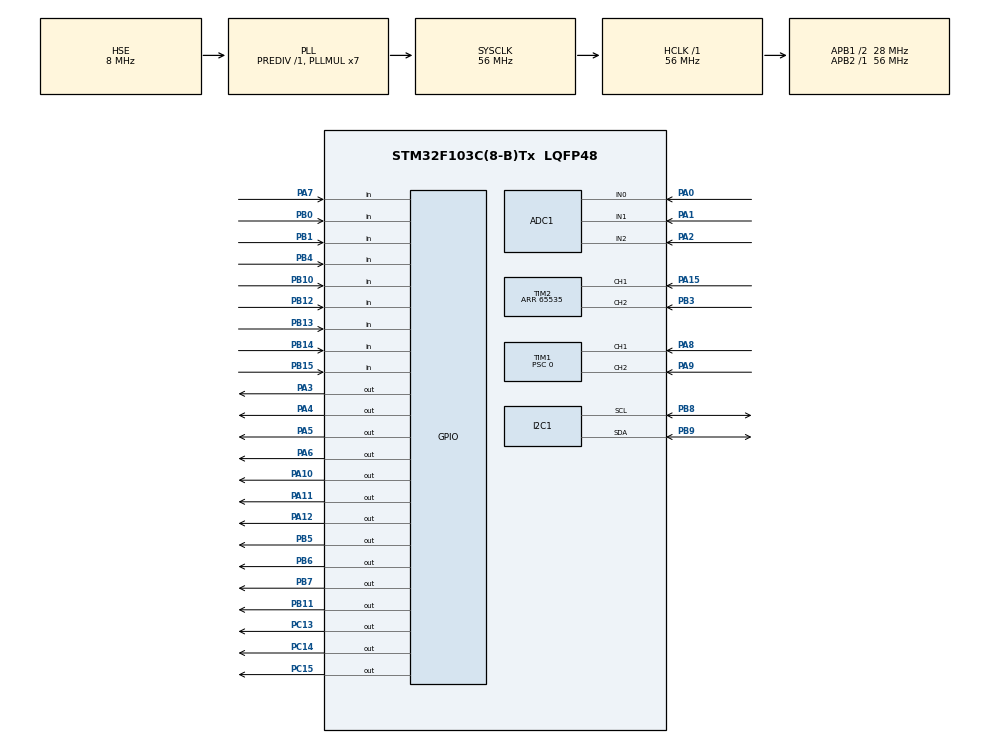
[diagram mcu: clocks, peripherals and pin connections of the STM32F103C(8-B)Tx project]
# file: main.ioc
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ADC1.Channel-0\#ChannelRegularConversion=ADC_CHANNEL_0
ADC1.ContinuousConvMode=ENABLE
ADC1.NbrOfConversion=1
ADC1.NbrOfConversionFlag=1
ADC1.Rank-0\#ChannelRegularConversion=1
ADC1.SamplingTime-0\#ChannelRegularConversion=ADC_SAMPLETIME_239CYCLES_5
ADC1.master=1
I2C1.I2C_Mode=I2C_Fast
Mcu.Family=STM32F1
Mcu.Name=STM32F103C(8-B)Tx
Mcu.Package=LQFP48
NVIC.PriorityGroup=NVIC_PRIORITYGROUP_4
PA0-WKUP.Signal=ADCx_IN0
PA1.Signal=ADCx_IN1
PA10.Signal=GPIO_Output
PA11.Signal=GPIO_Output
PA12.Signal=GPIO_Output
PA13.Mode=Serial_Wire
PA13.Signal=SYS_JTMS-SWDIO
PA14.Mode=Serial_Wire
PA14.Signal=SYS_JTCK-SWCLK
PA15.GPIO_PuPd=GPIO_PULLUP
PA15.Signal=S_TIM2_CH1_ETR
PA2.Signal=ADCx_IN2
PA3.Signal=GPIO_Output
PA4.Signal=GPIO_Output
PA5.Signal=GPIO_Output
PA6.Signal=GPIO_Output
PA7.GPIO_PuPd=GPIO_PULLUP
PA7.Signal=GPIO_Input
PA8.GPIO_Mode=GPIO_MODE_INPUT
PA8.GPIO_PuPd=GPIO_PULLUP
PA8.Signal=S_TIM1_CH1
PA9.GPIO_Mode=GPIO_MODE_INPUT
PA9.GPIO_PuPd=GPIO_PULLUP
PA9.Signal=S_TIM1_CH2
PB0.GPIO_PuPd=GPIO_PULLUP
PB0.Signal=GPIO_Input
PB1.GPIO_PuPd=GPIO_PULLUP
PB1.Signal=GPIO_Input
PB10.GPIO_PuPd=GPIO_PULLUP
PB10.Signal=GPIO_Input
PB11.Signal=GPIO_Output
PB12.GPIO_PuPd=GPIO_PULLUP
PB12.Signal=GPIO_Input
PB13.GPIO_PuPd=GPIO_PULLUP
PB13.Signal=GPIO_Input
PB14.GPIO_PuPd=GPIO_PULLUP
PB14.Signal=GPIO_Input
PB15.GPIO_PuPd=GPIO_PULLUP
PB15.Signal=GPIO_Input
PB3.GPIO_PuPd=GPIO_PULLUP
PB3.Signal=S_TIM2_CH2
PB4.GPIO_PuPd=GPIO_PULLUP
PB4.Signal=GPIO_Input
PB5.Signal=GPIO_Output
PB6.Signal=GPIO_Output
PB7.Signal=GPIO_Output
PB8.Mode=I2C
PB8.Signal=I2C1_SCL
PB9.Mode=I2C
PB9.Signal=I2C1_SDA
PC13-TAMPER-RTC.Signal=GPIO_Output
PC14-OSC32_IN.Signal=GPIO_Output
PC15-OSC32_OUT.Signal=GPIO_Output
PD0-OSC_IN.Mode=HSE-External-Oscillator
PD0-OSC_IN.Signal=RCC_OSC_IN
PD1-OSC_OUT.Mode=HSE-External-Oscillator
PD1-OSC_OUT.Signal=RCC_OSC_OUT
ProjectManager.HeapSize=0x200
ProjectManager.StackSize=0x400
ProjectManager.TargetToolchain=Makefile
RCC.ADCPresc=RCC_ADCPCLK2_DIV4
RCC.AHBFreq_Value=56000000
RCC.APB1CLKDivider=RCC_HCLK_DIV2
RCC.APB1Freq_Value=28000000
RCC.APB1TimFreq_Value=56000000
RCC.APB2Freq_Value=56000000
RCC.APB2TimFreq_Value=56000000
RCC.HCLKFreq_Value=56000000
RCC.PLLMUL=RCC_PLL_MUL7
RCC.PLLSourceVirtual=RCC_PLLSOURCE_HSE
RCC.SYSCLKFreq_VALUE=56000000
RCC.SYSCLKSource=RCC_SYSCLKSOURCE_PLLCLK
RCC.USBFreq_Value=56000000
SH.ADCx_IN0.0=ADC1_IN0,IN0
SH.ADCx_IN1.0=ADC1_IN1,IN1
SH.ADCx_IN2.0=ADC1_IN2,IN2
SH.S_TIM1_CH1.0=TIM1_CH1,Encoder_Interface
SH.S_TIM1_CH2.0=TIM1_CH2,Encoder_Interface
SH.S_TIM2_CH1_ETR.0=TIM2_CH1,Encoder_Interface
SH.S_TIM2_CH2.0=TIM2_CH2,Encoder_Interface
TIM1.ClockDivision=TIM_CLOCKDIVISION_DIV1
TIM1.CounterMode=TIM_COUNTERMODE_UP
TIM1.EncoderMode=TIM_ENCODERMODE_TI1
TIM1.IC1Filter=0
TIM1.IC2Filter=0
TIM1.Period=65535
TIM1.Prescaler=0
TIM2.Period=65535
board=stm32-si5351-vfo

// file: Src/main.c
/* USER CODE BEGIN Header */
/**
  ******************************************************************************
  * @file           : main.c
  * @brief          : Main program body
  ******************************************************************************
  ** This notice applies to any and all portions of this file
  * that are not between comment pairs USER CODE BEGIN and
  * USER CODE END. Other portions of this file, whether
  * inserted by the user or by software development tools
  * are owned by their respective copyright owners.
  *
  * COPYRIGHT(c) 2020 STMicroelectronics
  *
  * Redistribution and use in source and binary forms, with or without modification,
  * are permitted provided that the following conditions are met:
  *   1. Redistributions of source code must retain the above copyright notice,
  *      this list of conditions and the following disclaimer.
  *   2. Redistributions in binary form must reproduce the above copyright notice,
  *      this list of conditions and the following disclaimer in the documentation
  *      and/or other materials provided with the distribution.
  *   3. Neither the name of STMicroelectronics nor the names of its contributors
  *      may be used to endorse or promote products derived from this software
  *      without specific prior written permission.
  *
  * THIS SOFTWARE IS PROVIDED BY THE COPYRIGHT HOLDERS AND CONTRIBUTORS "AS IS"
  * AND ANY EXPRESS OR IMPLIED WARRANTIES, INCLUDING, BUT NOT LIMITED TO, THE
  * IMPLIED WARRANTIES OF MERCHANTABILITY AND FITNESS FOR A PARTICULAR PURPOSE ARE
  * DISCLAIMED. IN NO EVENT SHALL THE COPYRIGHT HOLDER OR CONTRIBUTORS BE LIABLE
  * FOR ANY DIRECT, INDIRECT, INCIDENTAL, SPECIAL, EXEMPLARY, OR CONSEQUENTIAL
  * DAMAGES (INCLUDING, BUT NOT LIMITED TO, PROCUREMENT OF SUBSTITUTE GOODS OR
  * SERVICES; LOSS OF USE, DATA, OR PROFITS; OR BUSINESS INTERRUPTION) HOWEVER
  * CAUSED AND ON ANY THEORY OF LIABILITY, WHETHER IN CONTRACT, STRICT LIABILITY,
  * OR TORT (INCLUDING NEGLIGENCE OR OTHERWISE) ARISING IN ANY WAY OUT OF THE USE
  * OF THIS SOFTWARE, EVEN IF ADVISED OF THE POSSIBILITY OF SUCH DAMAGE.
  *
  ******************************************************************************
  */
/* USER CODE END Header */

#include "main.h"

/* USER CODE BEGIN Includes */
#include <string.h>
#include <stdlib.h>
#include <stdbool.h>
#include <math.h>
#include "si5351.h"
#include "lcd.h"

/* USER CODE END Includes */

ADC_HandleTypeDef hadc1;

I2C_HandleTypeDef hi2c1;

TIM_HandleTypeDef htim1;
TIM_HandleTypeDef htim2;

/* USER CODE BEGIN PV */
/* Private variables ---------------------------------------------------------*/

/* USER CODE END PV */

void SystemClock_Config(void);
static void MX_GPIO_Init(void);
static void MX_TIM1_Init(void);
static void MX_I2C1_Init(void);
static void MX_TIM2_Init(void);
static void MX_ADC1_Init(void);
/* USER CODE BEGIN PFP */
/* Private function prototypes -----------------------------------------------*/

/* USER CODE END PFP */

/* USER CODE BEGIN 0 */

#define CH_CW   0
#define CH_CAL  1
#define CH_VFO  2

const int32_t XtalFilterCenterFrequency = 8998280;
const int32_t si5351_correction = 5760;

/* Adjust for used rotary encoders */
#define MAIN_DELTA_DIV 20
#define MAIN_DELTA_MULT 1
#define MULTI_DELTA_DIV 1
#define MULTI_DELTA_MULT -1

int32_t Fvfo = 1000000; // dummy value, will be changed below

const uint8_t eeprom_i2c_addr = (0x50 << 1);
#define EEPROM_PAGE_SIZE 32
#define KEYER_CONFIG_EEPROM_ADDR        0x0000
#define KEYER_MESSAGE_EEPROM_ADDR       0x0400

typedef enum {
    CLAR_MODE_DISABLED = 0,
    CLAR_MODE_RIT = 1,
    CLAR_MODE_XIT = 2,
} ClarMode_t;

bool lockMode = false;
bool fastMode = false;
ClarMode_t clarMode = CLAR_MODE_DISABLED;

int32_t clarOffset = 0;

typedef enum {
    CW_SEND_NONE = 0,
    CW_SEND_DIT = 1,
    CW_SEND_DAH = 2,
} CwSend_t;

CwSend_t lastSent = CW_SEND_NONE;
CwSend_t nextSend = CW_SEND_NONE;

typedef enum {
    KEYER_SETINGS_PAGE_SPEED = 0,
    KEYER_SETINGS_PAGE_XMIT = 1,
    KEYER_SETINGS_PAGE_SAVE = 2,
    KEYER_SETINGS_PAGE_PLAY = 3,
} KeyerSettingsPage_t;

typedef struct {
    uint16_t checksum;
    bool straightKey;
    int32_t speedWPM;
    int32_t ditTimeMs;
    KeyerSettingsPage_t settingsPage;
} KeyerConfig_t;

KeyerConfig_t keyerConfig = {
    .checksum = 0,
    .straightKey = false,
    .speedWPM = 19,

    // ditTimeMs = 60*1000/(50*WPM)
    // where 50 is the length in dits of "PARIS "
    // see https://morsecode.world/international/timing.html
    .ditTimeMs = 63,
    .settingsPage = KEYER_SETINGS_PAGE_SPEED,
};

#define MAX_KEYER_MESSAGE_LENGTH 500

typedef struct {
    uint16_t checksum;
    uint16_t length;
    char message[MAX_KEYER_MESSAGE_LENGTH];
} KeyerMessage_t;

KeyerMessage_t keyerMessage = {
    .checksum = 0,
    .length = 0,
};

bool inTransmitMode = false;

#define BUTTON_DEBOUNCE_TIME_MS 200
typedef enum {
    BUTTON_STATUS_PRESSED = 0,
    BUTTON_STATUS_RELEASED = 1,
    BUTTON_STATUS_DEBOUNCE = 2,
} ButtonStatus_t;

typedef enum {
    USE_LPF_80 = 0,
    USE_LPF_40_30 = 1,
    USE_LPF_20_17 = 2,
    USE_LPF_15_12_10 = 3,
} UseLPF_t;

typedef enum {
    USE_BPF_NONE = -1,
    USE_BPF_80 = 0,
    USE_BPF_40 = 1,
    USE_BPF_30 = 2,
    USE_BPF_20 = 3,
    USE_BPF_17 = 4,
    USE_BPF_15 = 5,
    USE_BPF_12 = 6,
    USE_BPF_10 = 7,
} UseBPF_t;

typedef struct {
    int32_t minFreq;
    int32_t maxFreq;
    int32_t lastFreq;
    UseLPF_t lpf;
    UseBPF_t bpf;
    /*
     * Compensate for losses in RG-174, frequency response of the given
     * PA depending on the used transistor, imperfections of the LPFs, etc.
     */
    si5351DriveStrength_t txDriveStrength;
} BandInfo_t;

int32_t currentBand = 3; // default: 20m

BandInfo_t bands[] = {
    {
        .minFreq  = 3500000,
        .maxFreq  = 3570000,
        .lastFreq = 3560000,
        .lpf = USE_LPF_80,
        .bpf = USE_BPF_80,
        .txDriveStrength = SI5351_DRIVE_STRENGTH_2MA,
    },
    {
        .minFreq  = 7000000,
        .maxFreq  = 7040000,
        .lastFreq = 7030000,
        .lpf = USE_LPF_40_30,
        .bpf = USE_BPF_40,
        .txDriveStrength = SI5351_DRIVE_STRENGTH_2MA,
    },
    {
        .minFreq  = 10100000,
        .maxFreq  = 10130000,
        .lastFreq = 10116000,
        .lpf = USE_LPF_40_30,
        .bpf = USE_BPF_30,
        .txDriveStrength = SI5351_DRIVE_STRENGTH_2MA,
    },
    {
        .minFreq  = 14000000,
        .maxFreq  = 14070000,
        .lastFreq = 14060000,
        .lpf = USE_LPF_20_17,
        .bpf = USE_BPF_20,
        .txDriveStrength = SI5351_DRIVE_STRENGTH_2MA,
    },
    {
        .minFreq  = 18068000,
        .maxFreq  = 18095000,
        .lastFreq = 18086000,
        .lpf = USE_LPF_20_17,
        .bpf = USE_BPF_17,
        .txDriveStrength = SI5351_DRIVE_STRENGTH_2MA,
    },
    {
        .minFreq  = 21000000,
        .maxFreq  = 21070000,
        .lastFreq = 21060000,
        .lpf = USE_LPF_15_12_10,
        .bpf = USE_BPF_15,
        .txDriveStrength = SI5351_DRIVE_STRENGTH_2MA,
    },
    {
        .minFreq  = 24890000,
        .maxFreq  = 24915000,
        .lastFreq = 24906000,
        .lpf = USE_LPF_15_12_10,
        .bpf = USE_BPF_12,
        .txDriveStrength = SI5351_DRIVE_STRENGTH_2MA,
    },
    {
        .minFreq  = 28000000,
        .maxFreq  = 28070000,
        .lastFreq = 28060000,
        .lpf = USE_LPF_15_12_10,
        .bpf = USE_BPF_10,
        .txDriveStrength = SI5351_DRIVE_STRENGTH_2MA,
    },
};

void ADC_Select_Channel(uint32_t ch) {
    ADC_ChannelConfTypeDef conf = {
        .Channel = ch,
        .Rank = 1,
        .SamplingTime = ADC_SAMPLETIME_28CYCLES_5,
    };
    if (HAL_ADC_ConfigChannel(&hadc1, &conf) != HAL_OK) {
        Error_Handler();
    }
}

double ADC_ReadVoltage(uint32_t ch) {
    ADC_Select_Channel(ch);
    HAL_ADC_PollForConversion(&hadc1, HAL_MAX_DELAY);
    return ((double)HAL_ADC_GetValue(&hadc1))*3.3/4096.0;
}

// http://en.wikipedia.org/wiki/Jenkins_hash_function
uint32_t jenkinsHash(const uint8_t *data, const size_t len) {
    uint32_t hash, i;
    for(hash = i = 0; i < len; ++i) {
        hash += data[i];
        hash += (hash << 10);
        hash ^= (hash >> 6);
    }
    hash += (hash << 3);
    hash ^= (hash >> 11);
    hash += (hash << 15);
    return hash;
}

void loadKeyerMessage() {
    HAL_StatusTypeDef status;
    uint16_t savedChecksum;
    KeyerMessage_t savedKeyerMessage;

    for(;;) {
        status = HAL_I2C_IsDeviceReady(&hi2c1, eeprom_i2c_addr, 3, HAL_MAX_DELAY);
        if(status == HAL_OK)
            break;
    }

    HAL_I2C_Mem_Read(&hi2c1, eeprom_i2c_addr, KEYER_MESSAGE_EEPROM_ADDR, I2C_MEMADD_SIZE_16BIT,
            (uint8_t*)&savedKeyerMessage, sizeof(savedKeyerMessage), HAL_MAX_DELAY);

    savedChecksum = savedKeyerMessage.checksum;
    savedKeyerMessage.checksum = 0;

    if((jenkinsHash((const uint8_t*)&savedKeyerMessage, sizeof(savedKeyerMessage)) & 0xFFFF) == savedChecksum) {
        keyerMessage = savedKeyerMessage;
    } else {
        LCD_Goto(0, 0);
        LCD_SendString("MSG HASH");
        LCD_Goto(1, 0);
        LCD_SendString(" ERROR! ");
        HAL_Delay(2000);
        LCD_Clear();
    }
}

void saveKeyerMessage() {
    HAL_StatusTypeDef status;
    uint16_t checksum;
    size_t bytes_to_write = sizeof(keyerMessage);
    uint8_t* struct_offset = (uint8_t*)&keyerMessage;
    uint16_t eeprom_addr = KEYER_MESSAGE_EEPROM_ADDR;

    keyerMessage.checksum = 0;
    checksum = (jenkinsHash((const uint8_t*)&keyerMessage, sizeof(keyerMessage)) & 0xFFFF);
    keyerMessage.checksum = checksum;

    // sizeof(keyerMessage) exceeds EEPROM_PAGE_SIZE
    // so we have to write it in batches
    while(bytes_to_write > 0) {
        size_t batch_size = bytes_to_write;
        if(batch_size > EEPROM_PAGE_SIZE) {
            batch_size = EEPROM_PAGE_SIZE;
        }

        for(;;) {
            status = HAL_I2C_IsDeviceReady(&hi2c1, eeprom_i2c_addr, 3, HAL_MAX_DELAY);
            if(status == HAL_OK)
                break;
        }

        HAL_I2C_Mem_Write(&hi2c1, eeprom_i2c_addr, eeprom_addr, I2C_MEMADD_SIZE_16BIT,
            struct_offset, batch_size, HAL_MAX_DELAY);

        bytes_to_write -= batch_size;
        struct_offset += batch_size;
        eeprom_addr += batch_size;
    }
}

void loadKeyerConfig() {
    HAL_StatusTypeDef status;
    uint16_t savedChecksum;
    KeyerConfig_t savedKeyerConfig;

    for(;;) {
        status = HAL_I2C_IsDeviceReady(&hi2c1, eeprom_i2c_addr, 3, HAL_MAX_DELAY);
        if(status == HAL_OK)
            break;
    }

    HAL_I2C_Mem_Read(&hi2c1, eeprom_i2c_addr, KEYER_CONFIG_EEPROM_ADDR, I2C_MEMADD_SIZE_16BIT,
        (uint8_t*)&savedKeyerConfig, sizeof(savedKeyerConfig), HAL_MAX_DELAY);

    savedChecksum = savedKeyerConfig.checksum;
    savedKeyerConfig.checksum = 0;

    if((jenkinsHash((const uint8_t*)&savedKeyerConfig, sizeof(savedKeyerConfig)) & 0xFFFF) == savedChecksum) {
        keyerConfig = savedKeyerConfig;
    } else {
        LCD_Goto(0, 0);
        LCD_SendString("CFG HASH");
        LCD_Goto(1, 0);
        LCD_SendString(" ERROR! ");
        HAL_Delay(2000);
        LCD_Clear();
    }
}

void saveKeyerConfig() {
    HAL_StatusTypeDef status;
    uint16_t checksum;
    keyerConfig.checksum = 0;

    checksum = (jenkinsHash((const uint8_t*)&keyerConfig, sizeof(keyerConfig)) & 0xFFFF);
    keyerConfig.checksum = checksum;

    for(;;) {
        status = HAL_I2C_IsDeviceReady(&hi2c1, eeprom_i2c_addr, 3, HAL_MAX_DELAY);
        if(status == HAL_OK)
            break;
    }

    HAL_I2C_Mem_Write(&hi2c1, eeprom_i2c_addr, KEYER_CONFIG_EEPROM_ADDR, I2C_MEMADD_SIZE_16BIT,
        (uint8_t*)&keyerConfig, sizeof(keyerConfig), HAL_MAX_DELAY);
}

void changeKeyerSpeed(int32_t delta) {
    keyerConfig.speedWPM += delta;
    if(keyerConfig.speedWPM < 10) {
        keyerConfig.speedWPM = 10;
        keyerConfig.straightKey = true;
        keyerConfig.ditTimeMs = 60*1000/(50*(10+1)); // as for 10 WPM
    } else {
        keyerConfig.straightKey = false;
        if(keyerConfig.speedWPM > 30) {
            keyerConfig.speedWPM = 30;
        }

        /* +1 compensates the signal rise/fall time */
        keyerConfig.ditTimeMs = 60*1000/(50*(keyerConfig.speedWPM + 1));
    }
}

void SetupCLK(uint8_t output, int32_t Fclk, si5351DriveStrength_t driveStrength) {
    static bool pllSetupDone = false;
    si5351PLLConfig_t pll_conf;
    si5351OutputConfig_t out_conf;

    si5351_Calc(Fclk, &pll_conf, &out_conf);
    if(!pllSetupDone) {
        si5351_SetupPLL(SI5351_PLL_A, &pll_conf);
        pllSetupDone = true;
    }
    si5351_SetupOutput(output, SI5351_PLL_A, driveStrength, &out_conf);
}

void enableTx(bool enable) {
    HAL_GPIO_WritePin(GPIOC, GPIO_PIN_14, enable ? GPIO_PIN_SET : GPIO_PIN_RESET);
}

void changeFrequency(int32_t delta, bool force) {
    static int32_t prevFvfo = 0;

    if((!force) && lockMode) {
        return;
    }

    if(fastMode) {
        delta *= 10;
    }
    bands[currentBand].lastFreq += 100*delta;
    if(fastMode && (delta != 0)) {
        bands[currentBand].lastFreq -= bands[currentBand].lastFreq % 1000;
    }

    if(bands[currentBand].lastFreq < bands[currentBand].minFreq) {
        bands[currentBand].lastFreq = bands[currentBand].minFreq;
    } else if(bands[currentBand].lastFreq > bands[currentBand].maxFreq) {
        bands[currentBand].lastFreq = bands[currentBand].maxFreq;
    }

    Fvfo = bands[currentBand].lastFreq + XtalFilterCenterFrequency;
    if(clarMode == CLAR_MODE_RIT) {
        Fvfo += clarOffset;
    }

    if(force || (Fvfo != prevFvfo)) {
        SetupCLK(CH_VFO, Fvfo, SI5351_DRIVE_STRENGTH_4MA);
    }

    prevFvfo = Fvfo;
}

void displayFrequency() {
    char buff[16];
    snprintf(buff, sizeof(buff), "%02ld.%03ld.%01ld",
        bands[currentBand].lastFreq / 1000000,
        (bands[currentBand].lastFreq % 1000000) / 1000,
        (bands[currentBand].lastFreq % 1000) / 100);

    LCD_Goto(0, 0);
    LCD_SendString(buff);
}

bool buttonDitPressed() {
    return (HAL_GPIO_ReadPin(GPIOB, GPIO_PIN_12) == GPIO_PIN_RESET);
}

bool buttonDahPressed() {
    return (HAL_GPIO_ReadPin(GPIOB, GPIO_PIN_13) == GPIO_PIN_RESET);
}

void displaySMeterOrMode(bool force) {
    static const char* prevSValue = NULL;
    static uint32_t lastSMeterUpdateTime = 0;
    // don't forget to add '-u _printf_float' to LDFLAGS
    char buff[16];

    if(force) {
        LCD_Goto(1, 0);
        if(fastMode) {
            LCD_SendString("= FAST =");
            return;
        } else if(lockMode) {
            LCD_SendString("= LOCK =");
            return;
        } else if(clarMode != CLAR_MODE_DISABLED) {
            snprintf(buff, sizeof(buff), "%s%s%04d",
                clarMode == CLAR_MODE_RIT ? "RIT" : "XIT",
                clarOffset < 0 ? "-" : "+",
                abs(clarOffset));
            LCD_SendString(buff);
            return;
        }
    }

    uint32_t tstamp = HAL_GetTick();
    if(force || (tstamp - lastSMeterUpdateTime > 500)) {
        const char* sValue = NULL;
        double voltage = ADC_ReadVoltage(ADC_CHANNEL_2);

        if(voltage <= 0.035) {
            sValue = "S0      ";
        } else if(voltage <= 0.04) {
            sValue = "S1      ";
        } else if(voltage <= 0.06) {
            sValue = "S2\x02     ";
        } else if(voltage <= 0.1) {
            sValue = "S3\x02     ";
        } else if(voltage <= 0.2) {
            sValue = "S4\x02\x03    ";
        } else if(voltage <= 0.5) {
            sValue = "S5\x02\x03    ";
        } else if(voltage <= 0.9) {
            sValue = "S6\x02\x03\x04   ";
        } else if(voltage <= 1.8) {
            sValue = "S7\x02\x03\x04\x05  ";
        } else if(voltage <= 2.2) {
            sValue = "S8\x02\x03\x04\x05\x06 ";
        } else if(voltage <= 2.65) {
            sValue = "S9\x02\x03\x04\x05\x06\x07";
        } else {
            sValue = "S+\x02\x03\x04\x05\x06\x07";
        }

        if(force || (prevSValue != sValue)) {
            // Don't re-render the S-meter if we are about to transmit
            if(!buttonDitPressed() && !buttonDahPressed()) {
                LCD_Goto(1, 0);
                LCD_SendString(sValue);
            }
        }

        prevSValue = sValue;
        lastSMeterUpdateTime = tstamp;
    }
}

void keyDown() {
    // CW tone ON
    HAL_GPIO_WritePin(GPIOB, GPIO_PIN_11, GPIO_PIN_SET);
}

void keyUp() {
    // CW tone OFF
    HAL_GPIO_WritePin(GPIOB, GPIO_PIN_11, GPIO_PIN_RESET);
}

void switchLPFs(UseLPF_t lpf) {
    HAL_GPIO_WritePin(GPIOA, GPIO_PIN_3, lpf == USE_LPF_15_12_10 ? GPIO_PIN_SET : GPIO_PIN_RESET);
    HAL_GPIO_WritePin(GPIOA, GPIO_PIN_4, lpf == USE_LPF_20_17 ? GPIO_PIN_SET : GPIO_PIN_RESET);
    HAL_GPIO_WritePin(GPIOA, GPIO_PIN_5, lpf == USE_LPF_40_30 ? GPIO_PIN_SET : GPIO_PIN_RESET);
    HAL_GPIO_WritePin(GPIOA, GPIO_PIN_6, lpf == USE_LPF_80 ? GPIO_PIN_SET : GPIO_PIN_RESET);
}

void switchBPFs(UseBPF_t bpf) {
    HAL_GPIO_WritePin(GPIOA, GPIO_PIN_10, bpf == USE_BPF_30 ? GPIO_PIN_SET : GPIO_PIN_RESET);
    HAL_GPIO_WritePin(GPIOA, GPIO_PIN_11, bpf == USE_BPF_17 ? GPIO_PIN_SET : GPIO_PIN_RESET);
    HAL_GPIO_WritePin(GPIOA, GPIO_PIN_12, bpf == USE_BPF_12 ? GPIO_PIN_SET : GPIO_PIN_RESET);

    HAL_GPIO_WritePin(GPIOB, GPIO_PIN_5, bpf == USE_BPF_10 ? GPIO_PIN_SET : GPIO_PIN_RESET);
    HAL_GPIO_WritePin(GPIOB, GPIO_PIN_6, bpf == USE_BPF_15 ? GPIO_PIN_SET : GPIO_PIN_RESET);
    HAL_GPIO_WritePin(GPIOB, GPIO_PIN_7, bpf == USE_BPF_20 ? GPIO_PIN_SET : GPIO_PIN_RESET);

    HAL_GPIO_WritePin(GPIOC, GPIO_PIN_13, bpf == USE_BPF_80 ? GPIO_PIN_SET : GPIO_PIN_RESET);
    HAL_GPIO_WritePin(GPIOC, GPIO_PIN_15, bpf == USE_BPF_40 ? GPIO_PIN_SET : GPIO_PIN_RESET);
}

void changeBand(int32_t delta) {
    currentBand += delta;
    while(currentBand < 0) {
        currentBand += sizeof(bands)/sizeof(bands[0]);
    }
    currentBand %= sizeof(bands)/sizeof(bands[0]);

    switchBPFs(bands[currentBand].bpf);
    switchLPFs(bands[currentBand].lpf);

    changeFrequency(0, false);
    si5351_EnableOutputs(1 << CH_VFO);
    displayFrequency();
}

void ensureTransmitMode() {
    if(inTransmitMode) {
        return;
    }

    int32_t targetFrequency = bands[currentBand].lastFreq;
    if(clarMode == CLAR_MODE_XIT) {
        targetFrequency += clarOffset;
    }

    SetupCLK(CH_CW, targetFrequency, bands[currentBand].txDriveStrength);
    si5351_EnableOutputs(1 << CH_CW);

    // Switch off the BPF. Otherwhise one can hear the signal being transmitted
    // despite the fact that VFO is disabled. The signal is very quiet but the
    // frequency is a bit off the built-in tone generator, so the tone sounds
    // a bit distorted.
    switchBPFs(USE_BPF_NONE);

    enableTx(true);

    LCD_Goto(1, 0);
    LCD_SendString("SWR  ---");

    inTransmitMode = true;
}

void ensureReceiveMode() {
    if(!inTransmitMode) {
        return;
    }
    enableTx(false);

    // Switch on the BPF
    switchBPFs(bands[currentBand].bpf);

    // Restore the original VFO
    changeFrequency(0, true);
    si5351_EnableOutputs(1 << CH_VFO);
    displaySMeterOrMode(true);
    inTransmitMode = false;
}

ButtonStatus_t buttonPressed(GPIO_TypeDef *GPIOx, uint16_t GPIO_Pin, uint32_t* lastPressed) {
    if(HAL_GPIO_ReadPin(GPIOx, GPIO_Pin) == GPIO_PIN_RESET) {
        uint32_t now = HAL_GetTick();
        if(now - *lastPressed > BUTTON_DEBOUNCE_TIME_MS) {
            *lastPressed = now;
            return BUTTON_STATUS_PRESSED;
        } else {
            return BUTTON_STATUS_DEBOUNCE;
        }
    }
    return BUTTON_STATUS_RELEASED;
}

bool switchRitMode() {
    return (HAL_GPIO_ReadPin(GPIOB, GPIO_PIN_4) == GPIO_PIN_RESET);
}

ButtonStatus_t buttonNextPressed() {
    static uint32_t lastPressed = 0;
    return buttonPressed(GPIOB, GPIO_PIN_14, &lastPressed);
}

ButtonStatus_t buttonPrevPressed() {
    static uint32_t lastPressed = 0;
    return buttonPressed(GPIOB, GPIO_PIN_1, &lastPressed);
}

ButtonStatus_t buttonFastPressed() {
    static uint32_t lastPressed = 0;
    return buttonPressed(GPIOB, GPIO_PIN_15, &lastPressed);
}

ButtonStatus_t buttonLockPressed() {
    static uint32_t lastPressed = 0;
    return buttonPressed(GPIOB, GPIO_PIN_10, &lastPressed);
}

ButtonStatus_t buttonClarPressed() {
    static uint32_t lastPressed = 0;
    return buttonPressed(GPIOB, GPIO_PIN_0, &lastPressed);
}

ButtonStatus_t buttonKeyerPressed() {
    static uint32_t lastPressed = 0;
    return buttonPressed(GPIOA, GPIO_PIN_7, &lastPressed);
}

// `straightKeyerKeyIsDown` is used to avoid calling keyUp()/keyDown() if we did it already.
// Calling HAL_GPIO_WritePin() too often generates a hearable noise.
bool straightKeyerKeyIsDown;

void initStraightKeyer() {
    straightKeyerKeyIsDown = false;
}

void processStraightKeyerLogic(bool pressed) {
    if(pressed) {
        if(!straightKeyerKeyIsDown) {
            keyDown();
            straightKeyerKeyIsDown = true;
        }
    } else if(straightKeyerKeyIsDown) {
        keyUp();
        straightKeyerKeyIsDown = false;
    }
}

void initIambicKeyer() {
    // iambic keyer has nothing to init
}

static size_t iambicKeyerLogOffset = 0;
static char iambicKeyerLog[MAX_KEYER_MESSAGE_LENGTH] = {0};

void iambicKeyerLogReset() {
    iambicKeyerLogOffset = 0;
}

size_t iambicKeyerLogSize() {
    return iambicKeyerLogOffset;
}

size_t iambicKeyerLogSpaceLeft() {
    return MAX_KEYER_MESSAGE_LENGTH - iambicKeyerLogOffset;
}

// Iambic keyer logs up to MAX_KEYER_MESSAGE_LENGTH symbols.
// '.' is a dit
// '-' is a dah
// ' ' is a pause between letters
// '/' is a pause between words
// Multiple pauses between letters are logged as one pause.
// Multiple pauses between words are also logged as one pause.
// Pauses in the beginning of the message are not logged.
void iambicKeyerLogEmit(char c) {
    if(iambicKeyerLogSpaceLeft() == 0) {
        // truncate the message if there is not space left in the buffer
        return;
    }

    if(((c == ' ') || (c == '/')) && (iambicKeyerLogOffset == 0)) {
        // don't log the pauses in the beginning of the message
        return;
    }

    if((c == ' ') && iambicKeyerLog[iambicKeyerLogOffset-1] == ' ') {
        // multiple pauses between letters are logged as one pause
        return;
    }

    if((c == '/') && iambicKeyerLog[iambicKeyerLogOffset-1] == '/') {
        // multiple pauses between words are logged as one pause.
        return;
    }

    if((c == '/') && iambicKeyerLog[iambicKeyerLogOffset-1] == ' ') {
        // previously logged pause between letters became a pause between words
        iambicKeyerLog[iambicKeyerLogOffset-1] = '/';
        return;
    }

    if((c == ' ') && iambicKeyerLog[iambicKeyerLogOffset-1] == '/') {
        // to my knowledge this should never happen...
        return;
    }

    // log the symbol
    iambicKeyerLog[iambicKeyerLogOffset] = c;
    iambicKeyerLogOffset++;
}

void processIambicKeyerLogic(bool ditPressed, bool dahPressed) {
    static int32_t sendFinish = 0;
    static int32_t keyReadTimeout = 0;
    static int32_t sendTimeout = 0;
    static bool isSending = false;

    int32_t now = HAL_GetTick();

    if(isSending && (now >= sendFinish)) {
        keyUp();
        isSending = false;
    } else if(!isSending && (now - sendFinish) > keyerConfig.ditTimeMs*5) {
        // multiple pauses between words will be logged as one pause
        // pauses in the beginning of the message will be ignored
        iambicKeyerLogEmit('/');
    } else if(!isSending && (now - sendFinish) > keyerConfig.ditTimeMs*2) {
        // multiple pauses between letters will be logged as one pause
        // pauses in the beginning of the message will be ignored
        iambicKeyerLogEmit(' ');
    }

    if(nextSend == CW_SEND_NONE) {
        if(ditPressed && (lastSent == CW_SEND_DAH)) {
            nextSend = CW_SEND_DIT;
        } else if(dahPressed && (lastSent == CW_SEND_DIT)) {
            nextSend = CW_SEND_DAH;
        } else if(now > keyReadTimeout) {
            if(ditPressed) {
                nextSend = CW_SEND_DIT;
            } else if (dahPressed) {
                nextSend = CW_SEND_DAH;
            }
        }
    }

    if((now > sendTimeout) && (nextSend != CW_SEND_NONE)) {
        if(nextSend == CW_SEND_DIT) {
            iambicKeyerLogEmit('.');
            sendFinish = now + keyerConfig.ditTimeMs;
            keyReadTimeout = now + keyerConfig.ditTimeMs*2;
        } else if(nextSend == CW_SEND_DAH) {
            iambicKeyerLogEmit('-');
            sendFinish = now + keyerConfig.ditTimeMs*3;
            keyReadTimeout = now + keyerConfig.ditTimeMs*3;
        }

        lastSent = nextSend;
        nextSend = CW_SEND_NONE;
        sendTimeout = sendFinish + keyerConfig.ditTimeMs;
        isSending = true;
        keyDown();
    }
}

int32_t getDelta(TIM_HandleTypeDef* htim, int32_t *prevCounter, int32_t mult, int32_t div) {
    int32_t currCounter = __HAL_TIM_GET_COUNTER(htim);
    currCounter = mult*(currCounter / div);
    currCounter = 32767 - ((currCounter-1) & 0xFFFF) / 2;
    if(currCounter > 32768/2) {
        // convert ... 32766, 32767, 0, 1, 2 ... into:
        //               ... -2, -1, 0, 1, 2 ...
        // this simplifies `delta` calculation
        currCounter = currCounter-32768;
    }

    if(currCounter != *prevCounter) {
        int32_t delta = *prevCounter-currCounter;
        *prevCounter = currCounter;

        // debounce or skip counter overflow
        if((delta > -10) && (delta < 10)) {
            return delta;
        }
    }

    return 0;
}

void displayKeyerSpeedSettings() {
    char buff[16];
    if(keyerConfig.straightKey) {
        LCD_Goto(0, 0);
        LCD_SendString("SPEED --");
        LCD_Goto(1, 0);
        LCD_SendString("STRAIGHT");
    } else {
        snprintf(buff, sizeof(buff), "SPEED %02ld", keyerConfig.speedWPM);
        LCD_Goto(0, 0);
        LCD_SendString(buff);
        LCD_Goto(1, 0);
        LCD_SendString("IAMBIC  ");
    }
}

void displayKeyerXmitSettings() {
    LCD_Goto(0, 0);
    LCD_SendString("XMIT MSG");
    LCD_Goto(1, 0);
    LCD_SendString("CFM=LOCK");
}

void displayKeyerSaveSettings() {
    LCD_Goto(0, 0);
    LCD_SendString("SAVE MSG");
    LCD_Goto(1, 0);
    LCD_SendString("CFM=LOCK");
}

void displayKeyerPlaySettings() {
    LCD_Goto(0, 0);
    LCD_SendString("PLAY MSG");
    LCD_Goto(1, 0);
    LCD_SendString("CFM=LOCK");
}

bool anyButtonPressed() {
    return (buttonNextPressed() == BUTTON_STATUS_PRESSED) ||
        (buttonFastPressed() == BUTTON_STATUS_PRESSED) ||
        (buttonLockPressed() == BUTTON_STATUS_PRESSED) ||
        (buttonPrevPressed() == BUTTON_STATUS_PRESSED) ||
        (buttonClarPressed() == BUTTON_STATUS_PRESSED) ||
        (buttonKeyerPressed() == BUTTON_STATUS_PRESSED) ||
        buttonDitPressed() || buttonDahPressed();
}

uint32_t lastSWRCheckTime = 0;
double lastSWRValue = 0.0;

void resetSWRMeter() {
    lastSWRCheckTime = 0;
    lastSWRValue = 0.0;
}

void updateSWRMeter() {
    double v_fwd, v_ref, ratio, swr;
    uint32_t tstamp = HAL_GetTick();
    if(tstamp - lastSWRCheckTime < 100) {
        return;
    }

    v_fwd = ADC_ReadVoltage(ADC_CHANNEL_0);
    if(v_fwd < 0.1) {
        /* not transmitting */
        return;
    }

    lastSWRCheckTime = tstamp;
    v_ref = ADC_ReadVoltage(ADC_CHANNEL_1);
    if(v_ref < 0.1) {
        v_ref = 0.0;
    }

    if(v_ref > v_fwd) {
        swr = 25.0;
    } else {
        ratio = v_ref / v_fwd;
        swr = (1+ratio)/(1-ratio);
    }

    if(fabs(lastSWRValue - swr) <= 0.2) {
        return;
    }

    LCD_Goto(1, 5);
    if(swr >= 10) {
        LCD_SendString("10+");
    } else {
        char buff[8];
        snprintf(buff, sizeof(buff), "%.1f", swr);
        LCD_SendString(buff);
    }

    lastSWRValue = swr;
}

void playbackSavedMessage(bool renderCounter, bool renderSWRMeter) {
    int32_t sendStart = 0;
    int32_t sendFinish = 0;
    bool isSending = false;
    int32_t now;
    size_t symbolsLeft = keyerMessage.length;
    size_t currentSymbolIdx = 0;
    char c;

    if(renderCounter) {
        char buff[16];
        snprintf(buff, sizeof(buff), "%03d", symbolsLeft);
        LCD_Goto(0, 5);
        LCD_SendString(buff);
    }

    while(symbolsLeft > 0) {
        now = HAL_GetTick();

        if((!isSending) && (now >= sendStart)) {
            // time to send the next symbol
            c = keyerMessage.message[currentSymbolIdx];
            isSending = true;

            if(c == '/') {
                // Pause between words.
                // We already waited for ditTimeMs, thus -1.
                // Act as if we are sending another symbol,
                // although keyDown() is not called.
                sendFinish = now + keyerConfig.ditTimeMs*(7-1);
            } else if(c == ' ') {
                // Pause between letters.
                // We already waited for ditTimeMs, thus -1.
                // Act as if we are sending another symbol,
                // although keyDown() is not called.
                sendFinish = now + keyerConfig.ditTimeMs*(3-1);
            } else if(c == '-') {
                keyDown();
                sendFinish = now + keyerConfig.ditTimeMs*3;
            } else { // c == '.'
                keyDown();
                sendFinish = now + keyerConfig.ditTimeMs;
            }
        }

        if(isSending && (now >= sendFinish)) {
            // another symbol was sent
            keyUp();
            symbolsLeft--;
            currentSymbolIdx++;
            isSending = false;

            // `ditTimeMs` is a pause between dits and dahs
            sendStart = now + keyerConfig.ditTimeMs;

            if(renderCounter) {
                char buff[16];
                snprintf(buff, sizeof(buff), "%03d", symbolsLeft);
                LCD_Goto(0, 5);
                LCD_SendString(buff);
            }
        }

        if(anyButtonPressed()) {
            break;
        }

        if(renderSWRMeter) {
            updateSWRMeter();
        }

        HAL_Delay(5);
    }

    keyUp();

    if(renderCounter) {
        LCD_Goto(0, 5);
        LCD_SendString("MSG");
    }
}

void enterKeyerSaveMode() {
    bool keyerInitDone = false;
    uint32_t keyerInitTime = 0;
    char buff[8];
    size_t spaceLeft, prevSpaceLeft;

    iambicKeyerLogReset();
    spaceLeft = iambicKeyerLogSpaceLeft();
    prevSpaceLeft = spaceLeft;

    snprintf(buff, sizeof(buff), "%03d", spaceLeft);
    LCD_Goto(0, 5);
    LCD_SendString(buff);

    for(;;) {
        bool ditPressed = buttonDitPressed();
        bool dahPressed = buttonDahPressed();

        if((ditPressed || dahPressed)) {
            keyerInitTime = HAL_GetTick();
            if(!keyerInitDone) {
                keyerInitDone = true;
                // use iambic keyer even in straight key mode
                initIambicKeyer();
            }
        } else {
            uint32_t tstamp = HAL_GetTick();
            if(tstamp - keyerInitTime > keyerConfig.ditTimeMs*8) {
                keyerInitDone = false;
            }
        }

        if(keyerInitDone) {
            processIambicKeyerLogic(ditPressed, dahPressed);
        }

        if(buttonLockPressed() == BUTTON_STATUS_PRESSED) {
            // SAVE confirmed
            keyerMessage.length = iambicKeyerLogSize();
            memcpy(keyerMessage.message, iambicKeyerLog, keyerMessage.length);

            // truncate the pauses in the end of the message
            while(keyerMessage.length > 0) {
                if(keyerMessage.message[keyerMessage.length-1] == ' ') {
                    keyerMessage.length--;
                    continue;
                }

                if(keyerMessage.message[keyerMessage.length-1] == '/') {
                    keyerMessage.length--;
                    continue;
                }

                break;
            }

            saveKeyerMessage();
            break;
        } else if(buttonKeyerPressed() == BUTTON_STATUS_PRESSED) {
            // SAVE aborted
            break;
        }

        spaceLeft = iambicKeyerLogSpaceLeft();
        if(spaceLeft != prevSpaceLeft) {
            // re-render
            snprintf(buff, sizeof(buff), "%03d", spaceLeft);
            LCD_Goto(0, 5);
            LCD_SendString(buff);
            prevSpaceLeft = spaceLeft;
        }

        HAL_Delay(5);
    }

    LCD_Goto(0, 5);
    LCD_SendString("MSG");
}

void loopKeyer(bool* startSendingSavedMessage) {
    bool keyerInitDone = false;
    uint32_t keyerInitTime = 0;
    int32_t prevCounter = 0;

    // init the last state
    if(keyerConfig.settingsPage == KEYER_SETINGS_PAGE_SPEED) {
        // reset the counter
        (void)getDelta(&htim2, &prevCounter, MULTI_DELTA_MULT, MULTI_DELTA_DIV);
        displayKeyerSpeedSettings();
    } else if(keyerConfig.settingsPage == KEYER_SETINGS_PAGE_XMIT) {
        displayKeyerXmitSettings();
    } else if(keyerConfig.settingsPage == KEYER_SETINGS_PAGE_SAVE) {
        displayKeyerSaveSettings();
    } else { // keyerConfig.settingsPage == KEYER_SETINGS_PAGE_PLAY
        displayKeyerPlaySettings();
    }

    for(;;) {
        if(keyerConfig.settingsPage == KEYER_SETINGS_PAGE_SPEED) {
            bool ditPressed = buttonDitPressed();
            bool dahPressed = buttonDahPressed();

            if((ditPressed || dahPressed)) {
                keyerInitTime = HAL_GetTick();
                if(!keyerInitDone) {
                    keyerInitDone = true;
                    if(keyerConfig.straightKey) {
                        initStraightKeyer();
                    } else {
                        initIambicKeyer();
                    }
                }
            } else {
                uint32_t tstamp = HAL_GetTick();
                if(tstamp - keyerInitTime > keyerConfig.ditTimeMs*8) {
                    keyerInitDone = false;
                }
            }

            if(keyerInitDone) {
                if(keyerConfig.straightKey) {
                    processStraightKeyerLogic(ditPressed);
                } else {
                    processIambicKeyerLogic(ditPressed, dahPressed);
                }
            }

            int32_t delta = getDelta(&htim2, &prevCounter, MULTI_DELTA_MULT, MULTI_DELTA_DIV);
            if(delta != 0) {
                // don't forget to re-init the keyer next time
                keyerInitDone = false;

                keyUp();
                changeKeyerSpeed(delta);

                // re-render
                displayKeyerSpeedSettings();
            }

            if(buttonNextPressed() == BUTTON_STATUS_PRESSED) {
                displayKeyerXmitSettings();
                keyerConfig.settingsPage = KEYER_SETINGS_PAGE_XMIT;
            } else if(buttonPrevPressed() == BUTTON_STATUS_PRESSED) {
                displayKeyerPlaySettings();
                keyerConfig.settingsPage = KEYER_SETINGS_PAGE_PLAY;
            } else if(buttonKeyerPressed() == BUTTON_STATUS_PRESSED) {
                break;
            }
        } else if(keyerConfig.settingsPage == KEYER_SETINGS_PAGE_XMIT) {
            if(buttonNextPressed() == BUTTON_STATUS_PRESSED) {
                displayKeyerSaveSettings();
                keyerConfig.settingsPage = KEYER_SETINGS_PAGE_SAVE;
            } else if(buttonPrevPressed() == BUTTON_STATUS_PRESSED) {
                // reset the counter
                (void)getDelta(&htim2, &prevCounter, MULTI_DELTA_MULT, MULTI_DELTA_DIV);
                displayKeyerSpeedSettings();
                keyerConfig.settingsPage = KEYER_SETINGS_PAGE_SPEED;
            } else if(buttonLockPressed() == BUTTON_STATUS_PRESSED) {
                *startSendingSavedMessage = true;
                break;
            } else if(buttonKeyerPressed() == BUTTON_STATUS_PRESSED) {
                break;
            }
        } else if(keyerConfig.settingsPage == KEYER_SETINGS_PAGE_SAVE) {
            if(buttonNextPressed() == BUTTON_STATUS_PRESSED) {
                displayKeyerPlaySettings();
                keyerConfig.settingsPage = KEYER_SETINGS_PAGE_PLAY;
            } else if(buttonPrevPressed() == BUTTON_STATUS_PRESSED) {
                displayKeyerXmitSettings();
                keyerConfig.settingsPage = KEYER_SETINGS_PAGE_XMIT;
            } else if(buttonLockPressed() == BUTTON_STATUS_PRESSED) {
                enterKeyerSaveMode();
            } else if(buttonKeyerPressed() == BUTTON_STATUS_PRESSED) {
                break;
            }
        } else { // keyerConfig.settingsPage == KEYER_SETINGS_PAGE_PLAY
            if(buttonNextPressed() == BUTTON_STATUS_PRESSED) {
                // reset the counter
                (void)getDelta(&htim2, &prevCounter, MULTI_DELTA_MULT, MULTI_DELTA_DIV);
                displayKeyerSpeedSettings();
                keyerConfig.settingsPage = KEYER_SETINGS_PAGE_SPEED;
            } else if(buttonPrevPressed() == BUTTON_STATUS_PRESSED) {
                displayKeyerSaveSettings();
                keyerConfig.settingsPage = KEYER_SETINGS_PAGE_SAVE;
            } else if(buttonLockPressed() == BUTTON_STATUS_PRESSED) {
                playbackSavedMessage(true, false);
            } else if(buttonKeyerPressed() == BUTTON_STATUS_PRESSED) {
                break;
            }
        }

        HAL_Delay(5);
    }

    saveKeyerConfig();
    displayFrequency();
    displaySMeterOrMode(true);
}

void loopMain() {
    static int32_t prevMainCounter = 0;
    static int32_t prevMultiCounter = 0;
    static uint32_t transmitModeEnterTime = 0;
    static bool prevClarModeRit = false;
    bool ditPressed = buttonDitPressed();
    bool dahPressed = buttonDahPressed();

    if(ditPressed || dahPressed) {
        transmitModeEnterTime = HAL_GetTick();
        if(!inTransmitMode) {
            ensureTransmitMode();
            resetSWRMeter();

            if(keyerConfig.straightKey) {
                initStraightKeyer();
            } else {
                initIambicKeyer();
            }
        }
    } else {
        /* exit TX mode due to inactivity? */
        uint32_t tstamp = HAL_GetTick();
        uint32_t delay = keyerConfig.straightKey ? 1000 : keyerConfig.ditTimeMs*15;

        if((tstamp - transmitModeEnterTime > delay) && (inTransmitMode)) {
            ensureReceiveMode();
            // discard any changes in counters
            (void)getDelta(&htim1, &prevMainCounter, MAIN_DELTA_MULT, MAIN_DELTA_DIV);
            (void)getDelta(&htim2, &prevMultiCounter, MULTI_DELTA_MULT, MULTI_DELTA_DIV);
        }
    }

    if(inTransmitMode) {
        if(keyerConfig.straightKey) {
            processStraightKeyerLogic(ditPressed);
        } else {
            processIambicKeyerLogic(ditPressed, dahPressed);
        }

        updateSWRMeter();
    } else {
        int32_t delta = getDelta(&htim1, &prevMainCounter, MAIN_DELTA_MULT, MAIN_DELTA_DIV);
        if(delta != 0) {
            changeFrequency(delta, false); // will do nothing in LOCK mode
            displayFrequency();
        }

        bool currClarModeRit = switchRitMode();
        if((clarMode != CLAR_MODE_DISABLED) && (currClarModeRit != prevClarModeRit)) {
            if(currClarModeRit) {
                clarMode = CLAR_MODE_RIT;
            } else {
                clarMode = CLAR_MODE_XIT;
            }
            changeFrequency(0, false);
            displaySMeterOrMode(true);
            prevClarModeRit = currClarModeRit;
        }

        if((clarMode != CLAR_MODE_DISABLED) && (!fastMode) && (!lockMode)) {
            delta = getDelta(&htim2, &prevMultiCounter, MULTI_DELTA_MULT, MULTI_DELTA_DIV);
            if(delta != 0) {
                clarOffset = clarOffset + delta*50;
                if(clarOffset < -3000) {
                    clarOffset = -3000;
                } else if (clarOffset > 3000) {
                    clarOffset = 3000;
                }

                if(clarMode == CLAR_MODE_RIT) {
                    changeFrequency(0, false);
                }
                displaySMeterOrMode(true);
            }
        }

        if((buttonLockPressed() == BUTTON_STATUS_PRESSED) && (!fastMode)) {
            lockMode = !lockMode;
            if(!lockMode) {
                // discard any changes in counters
                (void)getDelta(&htim1, &prevMainCounter, MAIN_DELTA_MULT, MAIN_DELTA_DIV);
                (void)getDelta(&htim2, &prevMultiCounter, MULTI_DELTA_MULT, MULTI_DELTA_DIV);
            }
            displaySMeterOrMode(true);
        } else if(!lockMode) {
            if(buttonNextPressed() == BUTTON_STATUS_PRESSED) {
                changeBand(1);
            } else if(buttonPrevPressed() == BUTTON_STATUS_PRESSED) {
                changeBand(-1);
            } else if(buttonFastPressed() == BUTTON_STATUS_PRESSED) {
                fastMode = !fastMode;
                if(!fastMode) {
                    // discard any changes in counters
                    (void)getDelta(&htim1, &prevMainCounter, MAIN_DELTA_MULT, MAIN_DELTA_DIV);
                    (void)getDelta(&htim2, &prevMultiCounter, MULTI_DELTA_MULT, MULTI_DELTA_DIV);
                }
                displaySMeterOrMode(true);
            } else if(buttonClarPressed() == BUTTON_STATUS_PRESSED) {
                if(clarMode == CLAR_MODE_DISABLED) {
                    clarMode = currClarModeRit ? CLAR_MODE_RIT : CLAR_MODE_XIT;
                } else {
                    clarMode = CLAR_MODE_DISABLED;
                    changeFrequency(0, false);
                }
                clarOffset = 0;
                (void)getDelta(&htim2, &prevMultiCounter, MULTI_DELTA_MULT, MULTI_DELTA_DIV);
                displaySMeterOrMode(true);
            } else if(buttonKeyerPressed() == BUTTON_STATUS_PRESSED) {
                bool startSendingSavedMessage = false;
                loopKeyer(&startSendingSavedMessage);
                // discard any changes in counters
                (void)getDelta(&htim1, &prevMainCounter, MAIN_DELTA_MULT, MAIN_DELTA_DIV);
                (void)getDelta(&htim2, &prevMultiCounter, MULTI_DELTA_MULT, MULTI_DELTA_DIV);

                if(startSendingSavedMessage) {
                    // process XMIT MSG
                    ensureTransmitMode();
                    resetSWRMeter();

                    if(keyerConfig.straightKey) {
                        initStraightKeyer();
                    } else {
                        initIambicKeyer();
                    }

                    playbackSavedMessage(false, true);
                    transmitModeEnterTime = HAL_GetTick();

                    // loopMain() will be called again from the main loop
                    return;
                }
            }
        }

        if((clarMode == CLAR_MODE_DISABLED) && (!lockMode) && (!fastMode)) {
            displaySMeterOrMode(false);
        }
    }

    HAL_Delay(5);
}

void init() {
/*
    // Code for determining the correction factor for Si5351
    char calmsg[16];

    LCD_Init();
    LCD_Goto(0, 0);
    LCD_SendString(" Si5351 ");
    LCD_Goto(1, 0);
    snprintf(calmsg, sizeof(calmsg), "Cal; CH%d", CH_CAL);
    LCD_SendString(calmsg);

    si5351_Init(0);
    si5351PLLConfig_t pll_conf;
    si5351OutputConfig_t out_conf;
    int32_t Fclk = 10000000;

    si5351_Calc(Fclk, &pll_conf, &out_conf);
    si5351_SetupPLL(SI5351_PLL_A, &pll_conf);
    si5351_SetupOutput(CH_CAL, SI5351_PLL_A, SI5351_DRIVE_STRENGTH_4MA, &out_conf);
    si5351_EnableOutputs(1<<CH_CAL);

    while(1) {
        HAL_Delay(100);
    }
*/
    keyUp();

    HAL_TIM_Encoder_Start(&htim1, TIM_CHANNEL_ALL);
    HAL_TIM_Encoder_Start(&htim2, TIM_CHANNEL_ALL);
    HAL_ADC_Start(&hadc1);

    LCD_Init();
    LCD_Goto(0, 0);
    LCD_SendString(" HBR/8B ");
    LCD_Goto(1, 0);
    LCD_SendString("Jan 2023");
    HAL_Delay(1000);
    LCD_Clear();

    LCD_Goto(0, 0);
    LCD_SendString("I2C:  ");
    bool first_line = true;
    for(uint16_t i = 1; i < 128; i++) {
        HAL_StatusTypeDef res;
        res = HAL_I2C_IsDeviceReady(&hi2c1, i << 1, 1, 10);
        if(res == HAL_OK) {
            char msg[64];
            snprintf(msg, sizeof(msg), "%02X ", i);
            LCD_SendString(msg);
            if(first_line) {
                LCD_Goto(1, 0);
                first_line = false;
            }
        }
    }
    HAL_Delay(1000);
    LCD_Clear();

    loadKeyerConfig();
    loadKeyerMessage();
    displaySMeterOrMode(true);

    si5351_Init(si5351_correction);
    changeBand(0); // calls changeFrequency()

    inTransmitMode = true;
    ensureReceiveMode();
}

/* USER CODE END 0 */

int main(void)
{

  /* MCU Configuration--------------------------------------------------------*/

  /* Reset of all peripherals, Initializes the Flash interface and the Systick. */
  HAL_Init();

  /* Configure the system clock */
  SystemClock_Config();

  /* Initialize all configured peripherals */
  MX_GPIO_Init();
  MX_TIM1_Init();
  MX_I2C1_Init();
  MX_TIM2_Init();
  MX_ADC1_Init();
  /* USER CODE BEGIN 2 */
  init();
  /* USER CODE END 2 */

  /* Infinite loop */
  /* USER CODE BEGIN WHILE */
  while (1)
  {
    loopMain();
    /* USER CODE END WHILE */

  }
}

void SystemClock_Config(void)
{
  RCC_OscInitTypeDef RCC_OscInitStruct = {0};
  RCC_ClkInitTypeDef RCC_ClkInitStruct = {0};
  RCC_PeriphCLKInitTypeDef PeriphClkInit = {0};

  /**Initializes the CPU, AHB and APB busses clocks
  */
  RCC_OscInitStruct.OscillatorType = RCC_OSCILLATORTYPE_HSE;
  RCC_OscInitStruct.HSEState = RCC_HSE_ON;
  RCC_OscInitStruct.HSEPredivValue = RCC_HSE_PREDIV_DIV1;
  RCC_OscInitStruct.HSIState = RCC_HSI_ON;
  RCC_OscInitStruct.PLL.PLLState = RCC_PLL_ON;
  RCC_OscInitStruct.PLL.PLLSource = RCC_PLLSOURCE_HSE;
  RCC_OscInitStruct.PLL.PLLMUL = RCC_PLL_MUL7;
  if (HAL_RCC_OscConfig(&RCC_OscInitStruct) != HAL_OK)
  {
    Error_Handler();
  }
  /**Initializes the CPU, AHB and APB busses clocks
  */
  RCC_ClkInitStruct.ClockType = RCC_CLOCKTYPE_HCLK|RCC_CLOCKTYPE_SYSCLK
                              |RCC_CLOCKTYPE_PCLK1|RCC_CLOCKTYPE_PCLK2;
  RCC_ClkInitStruct.SYSCLKSource = RCC_SYSCLKSOURCE_PLLCLK;
  RCC_ClkInitStruct.AHBCLKDivider = RCC_SYSCLK_DIV1;
  RCC_ClkInitStruct.APB1CLKDivider = RCC_HCLK_DIV2;
  RCC_ClkInitStruct.APB2CLKDivider = RCC_HCLK_DIV1;

  if (HAL_RCC_ClockConfig(&RCC_ClkInitStruct, FLASH_LATENCY_2) != HAL_OK)
  {
    Error_Handler();
  }
  PeriphClkInit.PeriphClockSelection = RCC_PERIPHCLK_ADC;
  PeriphClkInit.AdcClockSelection = RCC_ADCPCLK2_DIV4;
  if (HAL_RCCEx_PeriphCLKConfig(&PeriphClkInit) != HAL_OK)
  {
    Error_Handler();
  }
}

static void MX_ADC1_Init(void)
{

  ADC_ChannelConfTypeDef sConfig = {0};

  /**Common config
  */
  hadc1.Instance = ADC1;
  hadc1.Init.ScanConvMode = ADC_SCAN_DISABLE;
  hadc1.Init.ContinuousConvMode = ENABLE;
  hadc1.Init.DiscontinuousConvMode = DISABLE;
  hadc1.Init.ExternalTrigConv = ADC_SOFTWARE_START;
  hadc1.Init.DataAlign = ADC_DATAALIGN_RIGHT;
  hadc1.Init.NbrOfConversion = 1;
  if (HAL_ADC_Init(&hadc1) != HAL_OK)
  {
    Error_Handler();
  }
  /**Configure Regular Channel
  */
  sConfig.Channel = ADC_CHANNEL_0;
  sConfig.Rank = ADC_REGULAR_RANK_1;
  sConfig.SamplingTime = ADC_SAMPLETIME_239CYCLES_5;
  if (HAL_ADC_ConfigChannel(&hadc1, &sConfig) != HAL_OK)
  {
    Error_Handler();
  }

}

static void MX_I2C1_Init(void)
{

  hi2c1.Instance = I2C1;
  hi2c1.Init.ClockSpeed = 400000;
  hi2c1.Init.DutyCycle = I2C_DUTYCYCLE_2;
  hi2c1.Init.OwnAddress1 = 0;
  hi2c1.Init.AddressingMode = I2C_ADDRESSINGMODE_7BIT;
  hi2c1.Init.DualAddressMode = I2C_DUALADDRESS_DISABLE;
  hi2c1.Init.OwnAddress2 = 0;
  hi2c1.Init.GeneralCallMode = I2C_GENERALCALL_DISABLE;
  hi2c1.Init.NoStretchMode = I2C_NOSTRETCH_DISABLE;
  if (HAL_I2C_Init(&hi2c1) != HAL_OK)
  {
    Error_Handler();
  }

}

static void MX_TIM1_Init(void)
{

  TIM_Encoder_InitTypeDef sConfig = {0};
  TIM_MasterConfigTypeDef sMasterConfig = {0};

  htim1.Instance = TIM1;
  htim1.Init.Prescaler = 0;
  htim1.Init.CounterMode = TIM_COUNTERMODE_UP;
  htim1.Init.Period = 65535;
  htim1.Init.ClockDivision = TIM_CLOCKDIVISION_DIV1;
  htim1.Init.RepetitionCounter = 0;
  htim1.Init.AutoReloadPreload = TIM_AUTORELOAD_PRELOAD_DISABLE;
  sConfig.EncoderMode = TIM_ENCODERMODE_TI1;
  sConfig.IC1Polarity = TIM_ICPOLARITY_RISING;
  sConfig.IC1Selection = TIM_ICSELECTION_DIRECTTI;
  sConfig.IC1Prescaler = TIM_ICPSC_DIV1;
  sConfig.IC1Filter = 0;
  sConfig.IC2Polarity = TIM_ICPOLARITY_RISING;
  sConfig.IC2Selection = TIM_ICSELECTION_DIRECTTI;
  sConfig.IC2Prescaler = TIM_ICPSC_DIV1;
  sConfig.IC2Filter = 0;
  if (HAL_TIM_Encoder_Init(&htim1, &sConfig) != HAL_OK)
  {
    Error_Handler();
  }
  sMasterConfig.MasterOutputTrigger = TIM_TRGO_RESET;
  sMasterConfig.MasterSlaveMode = TIM_MASTERSLAVEMODE_DISABLE;
  if (HAL_TIMEx_MasterConfigSynchronization(&htim1, &sMasterConfig) != HAL_OK)
  {
    Error_Handler();
  }

}

static void MX_TIM2_Init(void)
{

  TIM_Encoder_InitTypeDef sConfig = {0};
  TIM_MasterConfigTypeDef sMasterConfig = {0};

  htim2.Instance = TIM2;
  htim2.Init.Prescaler = 0;
  htim2.Init.CounterMode = TIM_COUNTERMODE_UP;
  htim2.Init.Period = 65535;
  htim2.Init.ClockDivision = TIM_CLOCKDIVISION_DIV1;
  htim2.Init.AutoReloadPreload = TIM_AUTORELOAD_PRELOAD_DISABLE;
  sConfig.EncoderMode = TIM_ENCODERMODE_TI1;
  sConfig.IC1Polarity = TIM_ICPOLARITY_RISING;
  sConfig.IC1Selection = TIM_ICSELECTION_DIRECTTI;
  sConfig.IC1Prescaler = TIM_ICPSC_DIV1;
  sConfig.IC1Filter = 0;
  sConfig.IC2Polarity = TIM_ICPOLARITY_RISING;
  sConfig.IC2Selection = TIM_ICSELECTION_DIRECTTI;
  sConfig.IC2Prescaler = TIM_ICPSC_DIV1;
  sConfig.IC2Filter = 0;
  if (HAL_TIM_Encoder_Init(&htim2, &sConfig) != HAL_OK)
  {
    Error_Handler();
  }
  sMasterConfig.MasterOutputTrigger = TIM_TRGO_RESET;
  sMasterConfig.MasterSlaveMode = TIM_MASTERSLAVEMODE_DISABLE;
  if (HAL_TIMEx_MasterConfigSynchronization(&htim2, &sMasterConfig) != HAL_OK)
  {
    Error_Handler();
  }

}

static void MX_GPIO_Init(void)
{
  GPIO_InitTypeDef GPIO_InitStruct = {0};

  /* GPIO Ports Clock Enable */
  __HAL_RCC_GPIOC_CLK_ENABLE();
  __HAL_RCC_GPIOD_CLK_ENABLE();
  __HAL_RCC_GPIOA_CLK_ENABLE();
  __HAL_RCC_GPIOB_CLK_ENABLE();

  /*Configure GPIO pin Output Level */
  HAL_GPIO_WritePin(GPIOC, GPIO_PIN_13|GPIO_PIN_14|GPIO_PIN_15, GPIO_PIN_RESET);

  /*Configure GPIO pin Output Level */
  HAL_GPIO_WritePin(GPIOA, GPIO_PIN_3|GPIO_PIN_4|GPIO_PIN_5|GPIO_PIN_6
                          |GPIO_PIN_10|GPIO_PIN_11|GPIO_PIN_12, GPIO_PIN_RESET);

  /*Configure GPIO pin Output Level */
  HAL_GPIO_WritePin(GPIOB, GPIO_PIN_11|GPIO_PIN_5|GPIO_PIN_6|GPIO_PIN_7, GPIO_PIN_RESET);

  /*Configure GPIO pins : PC13 PC14 PC15 */
  GPIO_InitStruct.Pin = GPIO_PIN_13|GPIO_PIN_14|GPIO_PIN_15;
  GPIO_InitStruct.Mode = GPIO_MODE_OUTPUT_PP;
  GPIO_InitStruct.Pull = GPIO_NOPULL;
  GPIO_InitStruct.Speed = GPIO_SPEED_FREQ_LOW;
  HAL_GPIO_Init(GPIOC, &GPIO_InitStruct);

  /*Configure GPIO pins : PA3 PA4 PA5 PA6
                           PA10 PA11 PA12 */
  GPIO_InitStruct.Pin = GPIO_PIN_3|GPIO_PIN_4|GPIO_PIN_5|GPIO_PIN_6
                          |GPIO_PIN_10|GPIO_PIN_11|GPIO_PIN_12;
  GPIO_InitStruct.Mode = GPIO_MODE_OUTPUT_PP;
  GPIO_InitStruct.Pull = GPIO_NOPULL;
  GPIO_InitStruct.Speed = GPIO_SPEED_FREQ_LOW;
  HAL_GPIO_Init(GPIOA, &GPIO_InitStruct);

  /*Configure GPIO pin : PA7 */
  GPIO_InitStruct.Pin = GPIO_PIN_7;
  GPIO_InitStruct.Mode = GPIO_MODE_INPUT;
  GPIO_InitStruct.Pull = GPIO_PULLUP;
  HAL_GPIO_Init(GPIOA, &GPIO_InitStruct);

  /*Configure GPIO pins : PB0 PB1 PB10 PB12
                           PB13 PB14 PB15 PB4 */
  GPIO_InitStruct.Pin = GPIO_PIN_0|GPIO_PIN_1|GPIO_PIN_10|GPIO_PIN_12
                          |GPIO_PIN_13|GPIO_PIN_14|GPIO_PIN_15|GPIO_PIN_4;
  GPIO_InitStruct.Mode = GPIO_MODE_INPUT;
  GPIO_InitStruct.Pull = GPIO_PULLUP;
  HAL_GPIO_Init(GPIOB, &GPIO_InitStruct);

  /*Configure GPIO pins : PB11 PB5 PB6 PB7 */
  GPIO_InitStruct.Pin = GPIO_PIN_11|GPIO_PIN_5|GPIO_PIN_6|GPIO_PIN_7;
  GPIO_InitStruct.Mode = GPIO_MODE_OUTPUT_PP;
  GPIO_InitStruct.Pull = GPIO_NOPULL;
  GPIO_InitStruct.Speed = GPIO_SPEED_FREQ_LOW;
  HAL_GPIO_Init(GPIOB, &GPIO_InitStruct);

}

void Error_Handler(void)
{
  while(1)
  {
  }
}

/************************ (C) COPYRIGHT STMicroelectronics *****END OF FILE****/
